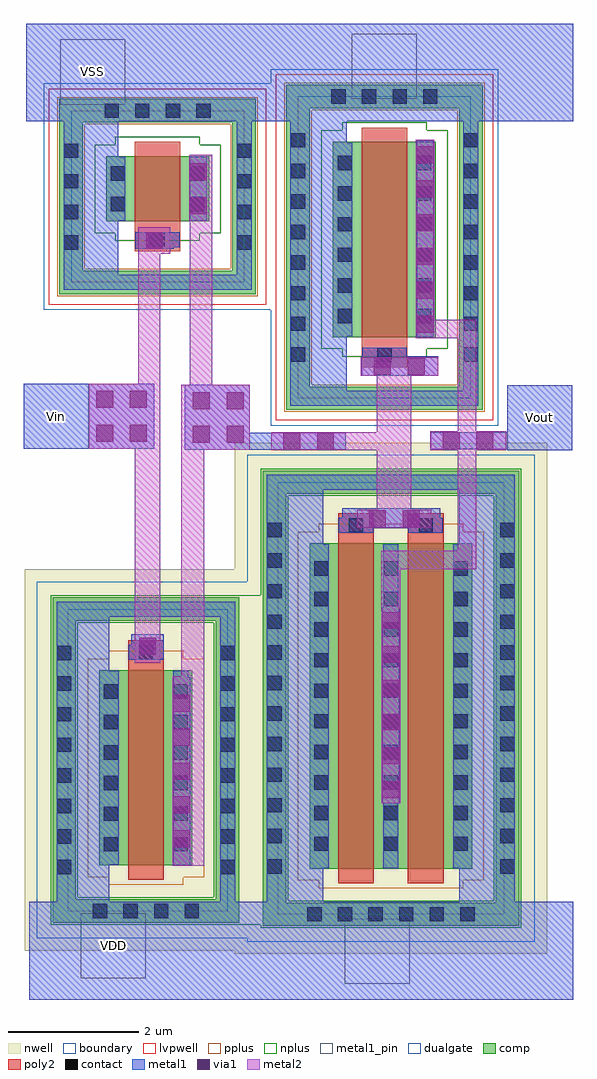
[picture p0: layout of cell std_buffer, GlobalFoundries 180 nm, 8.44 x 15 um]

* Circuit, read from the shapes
.subckt std_buffer VDD VSS Vin Vout
XM1 std_inverter_2/Vin Vin VSS VSS nfet_06v0 w=1u l=0.7u
XM2 Vout std_inverter_2/Vin VSS VSS nfet_06v0 w=3u l=0.7u
XM3 std_inverter_2/Vin Vin VDD VDD pfet_06v0 w=3u l=0.55u
XM4 Vout std_inverter_2/Vin VDD VDD pfet_06v0 w=5u l=0.55u m=2
.ends

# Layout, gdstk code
import gdstk
lib = gdstk.Library(unit=1e-6, precision=1e-09)
def R(c, l, rs):  # rectangles x0, y0, x1, y1
    for r in rs: c.add(gdstk.rectangle(r[:2], r[2:], *l))
def A(c, l, x, y, w, h, nx, ny, dx, dy):  # array of equal rectangles
    R(c, l, [(x+i*dx, y+j*dy, x+i*dx+w, y+j*dy+h) for i in range(nx) for j in range(ny)])
boundary = (0, 0)
nwell = (21, 0)
comp = (22, 0)
poly2 = (30, 0)
pplus = (31, 0)
nplus = (32, 0)
contact = (33, 0)
metal1 = (34, 0)
metal1_pin = (34, 10)
via1 = (35, 0)
metal2 = (36, 0)
dualgate = (55, 0)
lvpwell = (204, 0)

nmos_6p0_bumbus = lib.new_cell('nmos_6p0_BUMBUS')
R(nmos_6p0_bumbus, boundary, [(-1.33,-1.32,1.33,1.32)])
R(nmos_6p0_bumbus, comp, [(-1.51,-1.5,1.51,-1.14), (-1.51,-1.14,-1.15,1.14), (1.15,-1.14,1.51,1.14), (-0.79,-0.38,0.79,0.62), (-1.51,1.14,1.51,1.5)])
R(nmos_6p0_bumbus, poly2, [(-0.35,-0.84,0.35,0.84)])
R(nmos_6p0_bumbus, pplus, [(-1.54,-1.53,1.54,-1.11), (-1.54,-1.11,-1.12,1.11), (1.12,-1.11,1.54,1.11), (-1.54,1.11,1.54,1.53)])
R(nmos_6p0_bumbus, nplus, [(-0.65,-0.68,0.65,-0.56), (-0.97,-0.56,0.97,0.8), (-0.65,0.8,0.65,0.92)])
A(nmos_6p0_bumbus, contact, -1.44, -0.815, 0.22, 0.22, 1, 4, 0, 0.47)
A(nmos_6p0_bumbus, contact, 1.22, -0.815, 0.22, 0.22, 1, 4, 0, 0.47)
A(nmos_6p0_bumbus, contact, -0.815, 1.21, 0.22, 0.22, 4, 1, 0.47, 0)
R(nmos_6p0_bumbus, contact, [(-0.11,-0.77,0.11,-0.55), (-0.72,-0.225,-0.5,-0.005), (0.5,-0.225,0.72,-0.005), (-0.72,0.245,-0.5,0.465), (0.5,0.245,0.72,0.465)])
R(nmos_6p0_bumbus, metal1, [(-1.445,-1.435,1.445,-1.205), (-1.445,-1.205,-1.215,1.205), (1.215,-1.205,1.445,1.205), (-0.34,-0.775,0.34,-0.545), (-0.725,-0.37,-0.495,0.61), (0.495,-0.37,0.725,0.61), (-1.445,1.205,1.445,1.435)])
R(nmos_6p0_bumbus, dualgate, [(-1.75,-1.74,1.75,1.74)])
R(nmos_6p0_bumbus, lvpwell, [(-1.67,-1.66,1.67,1.66)])

pmos_6p0_guw2n9 = lib.new_cell('pmos_6p0_GUW2N9')
R(pmos_6p0_guw2n9, boundary, [(-1.23,-2.32,1.23,2.32)])
R(pmos_6p0_guw2n9, nwell, [(-1.89,-2.93,1.84,2.93)])
R(pmos_6p0_guw2n9, comp, [(-1.46,-2.5,1.41,-2.14), (-1.46,-2.14,-1.1,2.14), (1.05,-2.14,1.41,2.14), (-0.74,-1.62,0.69,1.38), (-1.46,2.14,1.41,2.5)])
R(pmos_6p0_guw2n9, poly2, [(-0.3,-1.84,0.25,1.84)])
R(pmos_6p0_guw2n9, pplus, [(-0.6,-1.92,0.55,-1.8), (-0.92,-1.8,0.87,1.56), (-0.6,1.56,0.55,1.68)])
R(pmos_6p0_guw2n9, nplus, [(-1.49,-2.53,1.44,-2.11), (-1.49,-2.11,-1.07,2.11), (1.02,-2.11,1.44,2.11), (-1.49,2.11,1.44,2.53)])
A(pmos_6p0_guw2n9, contact, -0.84, -2.43, 0.22, 0.22, 4, 1, 0.47, 0)
A(pmos_6p0_guw2n9, contact, -1.39, -1.755, 0.22, 0.22, 1, 8, 0, 0.47)
A(pmos_6p0_guw2n9, contact, 1.12, -1.755, 0.22, 0.22, 1, 8, 0, 0.47)
A(pmos_6p0_guw2n9, contact, -0.67, -1.405, 0.22, 0.22, 1, 6, 0, 0.47)
A(pmos_6p0_guw2n9, contact, 0.4, -1.405, 0.22, 0.22, 1, 6, 0, 0.47)
R(pmos_6p0_guw2n9, contact, [(-0.135,1.55,0.085,1.77)])
R(pmos_6p0_guw2n9, metal1, [(-1.395,-2.435,1.345,-2.205), (-1.395,-2.205,-1.165,2.205), (1.115,-2.205,1.345,2.205), (-0.675,-1.61,-0.445,1.37), (0.395,-1.61,0.625,1.37), (-0.29,1.545,0.24,1.775), (-1.395,2.205,1.345,2.435)])
R(pmos_6p0_guw2n9, dualgate, [(-1.7,-2.74,1.65,2.74)])

nmos_6p0_bumbju = lib.new_cell('nmos_6p0_BUMBJU')
R(nmos_6p0_bumbju, boundary, [(-1.33,-2.32,1.33,2.32)])
R(nmos_6p0_bumbju, comp, [(-1.51,-2.5,1.51,-2.14), (-1.51,-2.14,-1.15,2.14), (1.15,-2.14,1.51,2.14), (-0.79,-1.38,0.79,1.62), (-1.51,2.14,1.51,2.5)])
R(nmos_6p0_bumbju, poly2, [(-0.35,-1.84,0.35,1.84)])
R(nmos_6p0_bumbju, pplus, [(-1.54,-2.53,1.54,-2.11), (-1.54,-2.11,-1.12,2.11), (1.12,-2.11,1.54,2.11), (-1.54,2.11,1.54,2.53)])
R(nmos_6p0_bumbju, nplus, [(-0.65,-1.68,0.65,-1.56), (-0.97,-1.56,0.97,1.8), (-0.65,1.8,0.65,1.92)])
A(nmos_6p0_bumbju, contact, -1.44, -1.755, 0.22, 0.22, 1, 8, 0, 0.47)
A(nmos_6p0_bumbju, contact, 1.22, -1.755, 0.22, 0.22, 1, 8, 0, 0.47)
A(nmos_6p0_bumbju, contact, -0.72, -1.165, 0.22, 0.22, 1, 6, 0, 0.47)
A(nmos_6p0_bumbju, contact, 0.5, -1.165, 0.22, 0.22, 1, 6, 0, 0.47)
A(nmos_6p0_bumbju, contact, -0.815, 2.21, 0.22, 0.22, 4, 1, 0.47, 0)
R(nmos_6p0_bumbju, contact, [(-0.11,-1.77,0.11,-1.55)])
R(nmos_6p0_bumbju, metal1, [(-1.445,-2.435,1.445,-2.205), (-1.445,-2.205,-1.215,2.205), (1.215,-2.205,1.445,2.205), (-0.34,-1.775,0.34,-1.545), (-0.725,-1.37,-0.495,1.61), (0.495,-1.37,0.725,1.61), (-1.445,2.205,1.445,2.435)])
R(nmos_6p0_bumbju, dualgate, [(-1.75,-2.74,1.75,2.74)])
R(nmos_6p0_bumbju, lvpwell, [(-1.67,-2.66,1.67,2.66)])

pmos_6p0_muw2nr = lib.new_cell('pmos_6p0_MUW2NR')
R(pmos_6p0_muw2nr, boundary, [(-1.74,-3.32,1.74,3.32)])
R(pmos_6p0_muw2nr, nwell, [(-2.4,-3.93,2.4,3.93)])
R(pmos_6p0_muw2nr, comp, [(-1.97,-3.5,1.97,-3.14), (-1.97,-3.14,-1.61,3.14), (1.61,-3.14,1.97,3.14), (-1.25,-2.62,1.25,2.38), (-1.97,3.14,1.97,3.5)])
R(pmos_6p0_muw2nr, poly2, [(-0.81,-2.84,-0.26,2.84), (0.26,-2.84,0.81,2.84)])
R(pmos_6p0_muw2nr, pplus, [(-1.11,-2.92,1.11,-2.8), (-1.43,-2.8,1.43,2.56), (-1.11,2.56,1.11,2.68)])
R(pmos_6p0_muw2nr, nplus, [(-2,-3.53,2,-3.11), (-2,-3.11,-1.58,3.11), (1.58,-3.11,2,3.11), (-2,3.11,2,3.53)])
A(pmos_6p0_muw2nr, contact, -1.285, -3.43, 0.22, 0.22, 6, 1, 0.47, 0)
A(pmos_6p0_muw2nr, contact, -1.9, -2.695, 0.22, 0.22, 1, 12, 0, 0.47)
A(pmos_6p0_muw2nr, contact, 1.68, -2.695, 0.22, 0.22, 1, 12, 0, 0.47)
A(pmos_6p0_muw2nr, contact, -1.18, -2.345, 0.22, 0.22, 3, 10, 1.07, 0.47)
R(pmos_6p0_muw2nr, contact, [(-0.645,2.55,-0.425,2.77), (0.425,2.55,0.645,2.77)])
A(pmos_6p0_muw2nr, metal1, -1.185, -2.61, 0.23, 4.98, 3, 1, 1.07, 0)
R(pmos_6p0_muw2nr, metal1, [(-1.905,-3.435,1.905,-3.205), (-1.905,-3.205,-1.675,3.205), (1.675,-3.205,1.905,3.205), (-0.8,2.545,-0.27,2.775), (0.27,2.545,0.8,2.775), (-1.905,3.205,1.905,3.435)])
R(pmos_6p0_muw2nr, dualgate, [(-2.21,-3.74,2.21,3.74)])

std_inverter = lib.new_cell('std_inverter')
R(std_inverter, metal1, [(1.325,-6.75,7.3,-5.25), (2.645,-5.25,3.46,1.265), (5.55,-5.25,6.365,1.285), (4.37,-3.725,4.63,-0.73), (3.75,0.495,5.255,0.8), (6.29,1.69,7.29,1.705), (1.33,1.7,3.805,1.96), (5.115,1.705,7.29,1.965), (1.33,1.96,2.33,2.7), (6.29,1.965,7.29,2.69), (3.01,2.48,3.825,6.75), (4.055,2.835,5.225,3.135), (4.895,3.435,5.155,6.45), (1.325,6.75,7.3,8.25)])
R(std_inverter, metal1_pin, [(3.79,-6.51,4.79,-5.51), (6.29,1.69,7.29,2.69), (1.33,1.7,2.33,2.7), (3.9,7.095,4.9,8.095)])
A(std_inverter, via1, 4.37, -3.655, 0.26, 0.26, 1, 6, 0, 0.52)
A(std_inverter, via1, 4.895, 3.5, 0.26, 0.26, 1, 6, 0, 0.52)
R(std_inverter, via1, [(4.16,0.51,4.42,0.77), (4.68,0.51,4.94,0.77), (2.845,1.7,3.105,1.96), (3.365,1.7,3.625,1.96), (5.295,1.705,5.555,1.965), (5.815,1.705,6.075,1.965), (4.24,2.85,4.5,3.11), (4.76,2.85,5.02,3.11)])
R(std_inverter, metal2, [(4.36,-3.735,4.64,-0.78), (4.355,-0.78,4.64,-0.14), (4.355,-0.14,5.81,0.145), (5.525,0.145,5.81,1.69), (3.98,0.5,5.12,0.78), (4.28,0.78,4.81,1.69), (2.665,1.69,4.81,1.97), (5.105,1.69,6.27,1.98), (4.28,1.97,4.81,2.84), (5.525,1.98,5.81,3.415), (4.035,2.84,5.225,3.12), (4.885,3.415,5.81,3.7), (4.885,3.7,5.165,6.46)])
std_inverter.add(gdstk.Reference(nmos_6p0_bumbju, (4.4,4.81)))
std_inverter.add(gdstk.Reference(pmos_6p0_muw2nr, (4.5,-2.12)))
std_inverter.add(gdstk.Label('VDD', (4.29,-6.01), layer=34, texttype=10))
std_inverter.add(gdstk.Label('VSS', (4.4,7.595), layer=34, texttype=10))
std_inverter.add(gdstk.Label('Vin', (1.83,2.2), layer=34, texttype=10))
std_inverter.add(gdstk.Label('Vout', (6.79,2.19), layer=34, texttype=10))

std_buffer = lib.new_cell('std_buffer')
R(std_buffer, nplus, [(8.81,2.61,9.11,7.67)])
R(std_buffer, metal1, [(5.555,1.46,7.98,2.96), (6.11,2.96,6.78,7.415), (7.765,3.525,8.025,6.415), (7.12,6.71,7.62,7.07), (12.9,9.9,13.9,10.9), (5.47,9.925,7.47,10.925), (8.035,9.975,8.875,10.835), (6.245,12.46,6.92,14.96), (7.18,12.995,7.77,13.255), (8.02,13.425,8.28,14.415), (5.505,14.96,7.935,16.46)])
R(std_buffer, metal1_pin, [(6.34,1.785,7.34,2.785), (12.9,9.9,13.9,10.9), (5.47,9.925,6.47,10.925), (6.03,15.215,7.03,16.215)])
A(std_buffer, via1, 7.765, 3.8, 0.26, 0.26, 1, 5, 0, 0.52)
R(std_buffer, via1, [(7.24,6.76,7.5,7.02), (8.065,10.015,8.325,10.275), (8.585,10.015,8.845,10.275), (6.58,10.035,6.84,10.295), (7.1,10.035,7.36,10.295), (8.065,10.535,8.325,10.795), (8.585,10.535,8.845,10.795), (6.58,10.555,6.84,10.815), (7.1,10.555,7.36,10.815), (7.345,12.995,7.605,13.255), (8.02,13.53,8.28,13.79), (8.02,14.05,8.28,14.31)])
R(std_buffer, metal2, [(7.755,3.515,8.245,6.425), (7.89,6.425,8.245,9.91), (7.175,6.635,7.565,9.925), (7.89,9.91,8.94,10.91), (6.47,9.925,7.565,10.925), (8.02,10.91,8.365,13.415), (7.23,10.925,7.565,12.92), (7.23,12.92,7.72,13.325), (8.01,13.415,8.365,14.425), (8.02,14.425,8.365,14.44)])
std_buffer.add(gdstk.Reference(nmos_6p0_bumbus, (7.525,13.8)))
std_buffer.add(gdstk.Reference(pmos_6p0_guw2n9, (7.37,5.14)))
std_buffer.add(gdstk.Reference(std_inverter, (6.61,8.21)))
std_buffer.add(gdstk.Label('VDD', (6.84,2.285), layer=34, texttype=10))
std_buffer.add(gdstk.Label('VSS', (6.53,15.715), layer=34, texttype=10))
std_buffer.add(gdstk.Label('Vin', (5.97,10.425), layer=34, texttype=10))
std_buffer.add(gdstk.Label('Vout', (13.4,10.4), layer=34, texttype=10))

lib.write_gds('std_buffer.gds')
